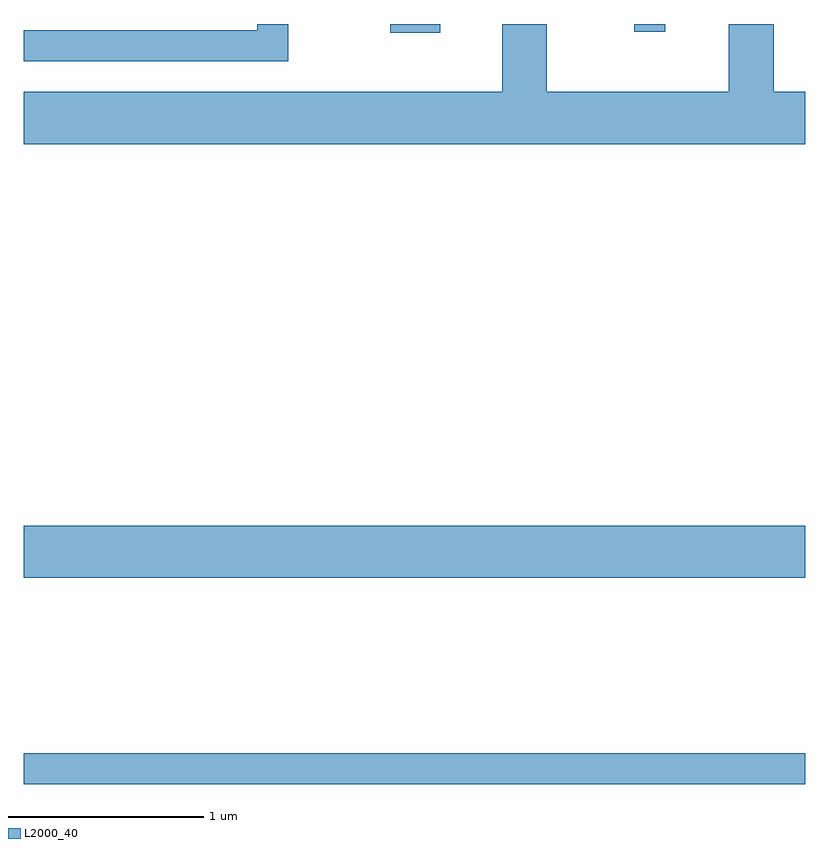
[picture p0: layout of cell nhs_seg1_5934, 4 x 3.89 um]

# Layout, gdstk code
import gdstk
lib = gdstk.Library(unit=1e-6, precision=1e-09)
def R(c, l, rs):  # rectangles x0, y0, x1, y1
    for r in rs: c.add(gdstk.rectangle(r[:2], r[2:], *l))
def P(c, l, *ps):  # polygons
    for p in ps: c.add(gdstk.Polygon(p, *l))
L2000_40 = (2000, 40)

nhs_seg1_5934 = lib.new_cell('nhs_seg1_5934')
R(nhs_seg1_5934, L2000_40, [(363.611,931.821,367.611,931.979), (363.611,932.876,367.611,933.144), (365.486,935.666,365.744,935.712), (366.736,935.673,366.894,935.712)])
P(nhs_seg1_5934, L2000_40, [(367.611,935.364),(367.449,935.364),(367.449,935.712),(367.221,935.712),(367.221,935.364),(366.289,935.364),(366.289,935.712),(366.061,935.712),(366.061,935.364),(363.611,935.364),(363.611,935.096),(367.611,935.096)],
  [(364.964,935.712),(364.806,935.712),(364.806,935.679),(363.611,935.679),(363.611,935.521),(364.964,935.521)])

lib.write_gds('nhs_seg1_5934.gds')
